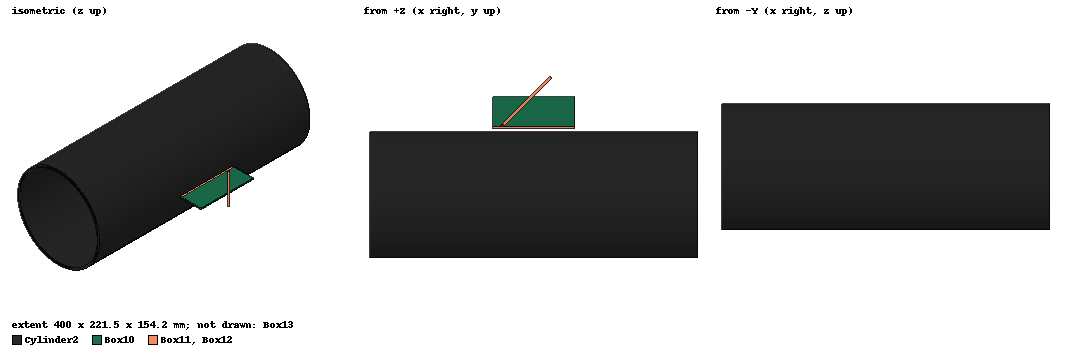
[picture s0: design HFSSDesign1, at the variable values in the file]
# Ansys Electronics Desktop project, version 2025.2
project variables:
  $length = (81.91*.85) mm
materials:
  vacuum: permittivity=1
  copper: permeability=0.999991 conductivity=58000000
  air: permittivity=1.0006 permeability=1.0000004
  graphite: conductivity=70000
  FR4_epoxy: permittivity=4.4 dielectric_loss_tangent=0.02
  cast_iron: permeability=60 conductivity=1500000
  CF - Carbon fiber: conductivity=252.337

design HFSSDesign1 (HFSS, HFSS Terminal Network, model units mm)
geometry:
  Box10 [FR4_epoxy] = box(corner=(50mm, 120mm, 0mm), size=(-100mm, -40mm, -1.6mm))
  Cylinder2 [CF - Carbon fiber] = cylinder(axis=X, base_centre=(-200mm, 0mm, 0mm), radius=77.1mm, height=400mm)
  Cylinder3 = cylinder(axis=X, base_centre=(200mm, 0mm, 0mm), radius=74mm, height=-400mm)
  Cylinder2.subtract(Cylinder3)
  Box11 [copper] = box(corner=(-40mm, 85mm, 0mm), size=(3mm, 81.97mm, 0.035mm))
  Rectangle2 = rectangle(corner=(-40mm, 85mm, 0mm), x_size=3mm, y_size=-2mm)
  Box12 [copper] = box(corner=(-50mm, 80mm, 0mm), size=(100mm, 3mm, 0.035mm))
  Box13 [air] = box(corner=(-250mm, 200mm, 100mm), size=(500mm, -400mm, -200mm))
  coordinate_system RelativeCS3 = origin=(-40mm, 83mm, 0mm) x=(1mm, 0mm, 0mm) y=(0mm, 1mm, 0mm)
  [Rectangle2, Box11].rotate(axis=Z, angle=-45deg) in RelativeCS3
  [Rectangle2, Box11].move(0mm, 2mm, 0mm) in RelativeCS3
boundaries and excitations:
  Rad1: Radiation Objects=Box13
  Box11_T1: Terminal port=1 Edges=Box11.edge(at (-37.5251, 85.3536, 0)) TerminalResistance=50ohm
  1: Lumped Port Faces=Rectangle2.face(at (-38.2322, 84.6464, 0)) LumpedPortType=Terminal Impedance=50ohm
  reference conductors: Box12
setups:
  Setup1: HfssDriven Frequency=915MHz MaxDeltaS=0.02 MaximumPasses=10 MinimumPasses=1 MinimumConvergedPasses=1 PercentRefinement=30 BasisOrder=1 PortAccuracy=2 DrivenSolverType="Direct Solver"
    sweep Sweep: 500MHz to 1200MHz, 120 points; Type=Discrete SaveFields SaveRadFields
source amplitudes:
  1:1: 1 0
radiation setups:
  Infinite Sphere1: Infinite Sphere Theta=0deg..180deg step 2deg Phi=-180deg..180deg step 2deg
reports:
  Terminal S Parameter Plot1: dB(St(Box11_T1,Box11_T1)) vs Freq on Setup1 : Sweep
  Terminal VSWR Plot1: VSWRt(Box11_T1) vs Freq on Setup1 : Sweep
  Gain Plot1: dB(GainTotal) vs Phi, Theta on Setup1 : LastAdaptive, Infinite Sphere1 [Freq=0.915GHz]
